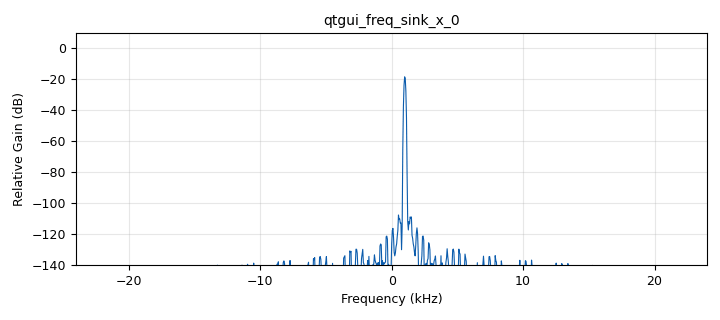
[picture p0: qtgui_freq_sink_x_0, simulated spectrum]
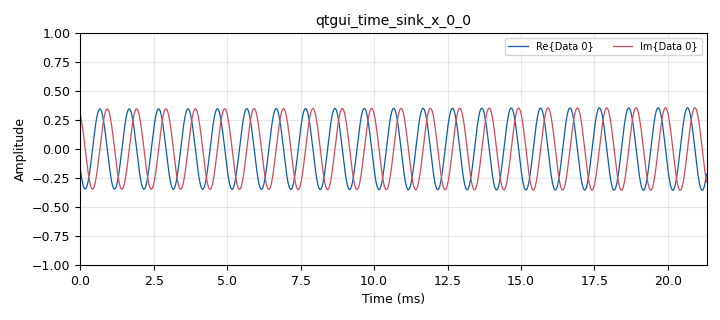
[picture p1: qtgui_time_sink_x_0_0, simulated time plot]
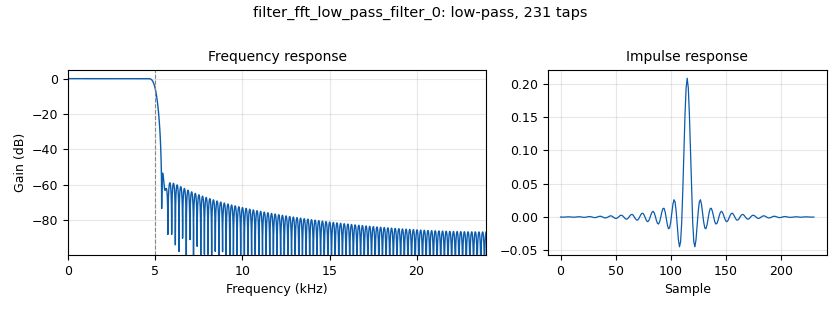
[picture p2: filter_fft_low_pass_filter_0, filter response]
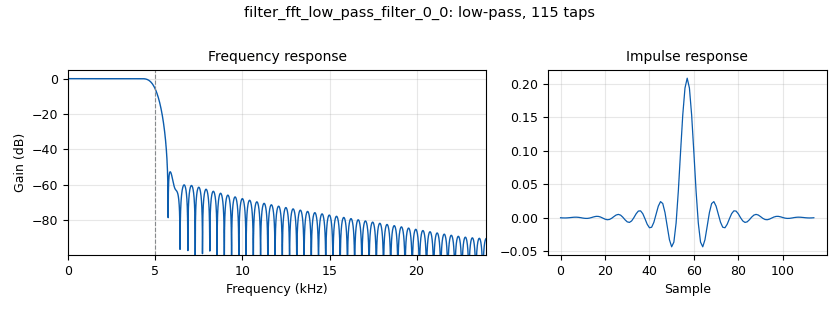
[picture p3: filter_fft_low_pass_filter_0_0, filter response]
options:
  parameters:
    author: aitmoran
    generate_options: qt_gui
    id: options_0
    output_language: python
    title: AM
  states: {}

blocks:
- name: samp_rate
  id: variable
  parameters:
    value: '48000'
  states: {}
- name: analog_am_demod_cf_0
  id: analog_am_demod_cf
  parameters:
    audio_decim: '1'
    audio_pass: '5000'
    audio_stop: '5500'
    chan_rate: samp_rate
  states: {}
- name: analog_const_source_x_0
  id: analog_const_source_x
  parameters:
    const: '2'
    type: float
  states: {}
- name: analog_const_source_x_0_0
  id: analog_const_source_x
  parameters:
    const: '0'
    type: float
  states: {}
- name: analog_sig_source_x_0_0_0
  id: analog_sig_source_x
  parameters:
    alias: Carrier
    amp: '1'
    freq: '1000'
    offset: '0'
    phase: '0'
    samp_rate: samp_rate
    type: complex
    waveform: analog.GR_COS_WAVE
  states: {}
- name: analog_sig_source_x_0_0_0_0
  id: analog_sig_source_x
  parameters:
    alias: Carrier
    amp: '1'
    freq: '-10000'
    offset: '0'
    phase: '0'
    samp_rate: samp_rate
    type: complex
    waveform: analog.GR_COS_WAVE
  states: {}
- name: analog_sig_source_x_0_1
  id: analog_sig_source_x
  parameters:
    alias: Source
    amp: '1'
    freq: '20'
    offset: '0'
    phase: '0'
    samp_rate: samp_rate
    type: float
    waveform: analog.GR_COS_WAVE
  states: {}
- name: audio_sink_0
  id: audio_sink
  parameters:
    samp_rate: samp_rate
  states: {}
- name: blocks_add_const_vxx_0
  id: blocks_add_const_vxx
  parameters:
    const: '1'
    type: float
  states: {}
- name: blocks_divide_xx_0
  id: blocks_divide_xx
  parameters:
    type: float
  states: {}
- name: blocks_float_to_complex_0
  id: blocks_float_to_complex
  parameters: {}
  states: {}
- name: blocks_multiply_const_vxx_0
  id: blocks_multiply_const_vxx
  parameters:
    const: '7'
    type: float
  states: {}
- name: blocks_multiply_xx_0
  id: blocks_multiply_xx
  parameters:
    type: complex
  states: {}
- name: blocks_multiply_xx_1
  id: blocks_multiply_xx
  parameters:
    type: complex
  states: {}
- name: blocks_throttle2_0_0
  id: blocks_throttle2
  parameters:
    samples_per_second: samp_rate
    type: complex
  states: {}
- name: channels_channel_model_0
  id: channels_channel_model
  parameters:
    epsilon: '1.0'
    freq_offset: '0.0'
    noise_voltage: '0.0'
    seed: '0'
    taps: '1.0'
  states: {}
- name: dc_blocker_xx_0
  id: dc_blocker_xx
  parameters:
    length: '64'
    long_form: 'True'
    type: ff
  states: {}
- name: filter_fft_low_pass_filter_0
  id: filter_fft_low_pass_filter
  parameters:
    cutoff_freq: '5000'
    decim: '1'
    gain: '1'
    samp_rate: samp_rate
    type: fff
    width: '500'
    win: window.WIN_HAMMING
  states: {}
- name: filter_fft_low_pass_filter_0_0
  id: filter_fft_low_pass_filter
  parameters:
    cutoff_freq: '5000'
    decim: '1'
    gain: '1'
    samp_rate: samp_rate
    type: ccf
    width: '1000'
    win: window.WIN_HAMMING
  states: {}
- name: note_0_0
  id: note
  parameters:
    note: AM Modulation
  states: {}
- name: note_0_0_0
  id: note
  parameters:
    note: Add constant to avoid phase shift
  states: {}
- name: note_0_0_0_0
  id: note
  parameters:
    note: Mult signal by carrier
  states: {}
- name: note_0_0_0_1
  id: note
  parameters:
    note: Fit to bandwidth
  states: {}
- name: note_0_0_1
  id: note
  parameters:
    note: Change to samle rate of radio
  states: {}
- name: note_0_0_2
  id: note
  parameters:
    note: Source
  states: {}
- name: note_0_0_2_0
  id: note
  parameters:
    note: Carrier
  states: {}
- name: qtgui_freq_sink_x_0
  id: qtgui_freq_sink_x
  parameters:
    bw: samp_rate
    fc: '0'
    fftsize: '1024'
    type: complex
  states: {}
- name: qtgui_time_sink_x_0_0
  id: qtgui_time_sink_x
  parameters:
    size: '1024'
    srate: samp_rate
    type: complex
  states: {}
- name: rational_resampler_xxx_0
  id: rational_resampler_xxx
  parameters:
    decim: '44100'
    interp: samp_rate
    type: fff
  states: {}
- name: rational_resampler_xxx_0_0
  id: rational_resampler_xxx
  parameters:
    decim: '48000'
    interp: '5000000'
    type: ccf
  states: {}
- name: rational_resampler_xxx_0_1
  id: rational_resampler_xxx
  parameters:
    decim: '100000'
    interp: samp_rate
    type: fff
  states: {}
- name: virtual_sink_0
  id: virtual_sink
  parameters:
    stream_id: am_source
  states: {}
- name: virtual_sink_1
  id: virtual_sink
  parameters:
    stream_id: am_rec
  states: {}
- name: virtual_source_0
  id: virtual_source
  parameters:
    stream_id: am_rec
  states: {}
- name: virtual_source_1
  id: virtual_source
  parameters:
    stream_id: am_source
  states: {}

connections:
- [analog_am_demod_cf_0, '0', dc_blocker_xx_0, '0']
- [analog_const_source_x_0, '0', blocks_divide_xx_0, '1']
- [analog_const_source_x_0_0, '0', blocks_float_to_complex_0, '1']
- [analog_sig_source_x_0_0_0, '0', blocks_multiply_xx_0, '1']
- [analog_sig_source_x_0_0_0_0, '0', blocks_multiply_xx_1, '1']
- [analog_sig_source_x_0_1, '0', rational_resampler_xxx_0, '0']
- [blocks_add_const_vxx_0, '0', blocks_divide_xx_0, '0']
- [blocks_divide_xx_0, '0', filter_fft_low_pass_filter_0, '0']
- [blocks_float_to_complex_0, '0', rational_resampler_xxx_0_0, '0']
- [blocks_multiply_const_vxx_0, '0', rational_resampler_xxx_0_1, '0']
- [blocks_multiply_xx_0, '0', blocks_throttle2_0_0, '0']
- [blocks_multiply_xx_1, '0', filter_fft_low_pass_filter_0_0, '0']
- [blocks_throttle2_0_0, '0', qtgui_freq_sink_x_0, '0']
- [blocks_throttle2_0_0, '0', qtgui_time_sink_x_0_0, '0']
- [blocks_throttle2_0_0, '0', virtual_sink_0, '0']
- [channels_channel_model_0, '0', virtual_sink_1, '0']
- [dc_blocker_xx_0, '0', blocks_multiply_const_vxx_0, '0']
- [filter_fft_low_pass_filter_0, '0', blocks_float_to_complex_0, '0']
- [filter_fft_low_pass_filter_0_0, '0', analog_am_demod_cf_0, '0']
- [rational_resampler_xxx_0, '0', blocks_add_const_vxx_0, '0']
- [rational_resampler_xxx_0_0, '0', blocks_multiply_xx_0, '0']
- [rational_resampler_xxx_0_1, '0', audio_sink_0, '0']
- [virtual_source_0, '0', blocks_multiply_xx_1, '0']
- [virtual_source_1, '0', channels_channel_model_0, '0']

metadata:
  file_format: 1
  grc_version: 3.10.10.0
